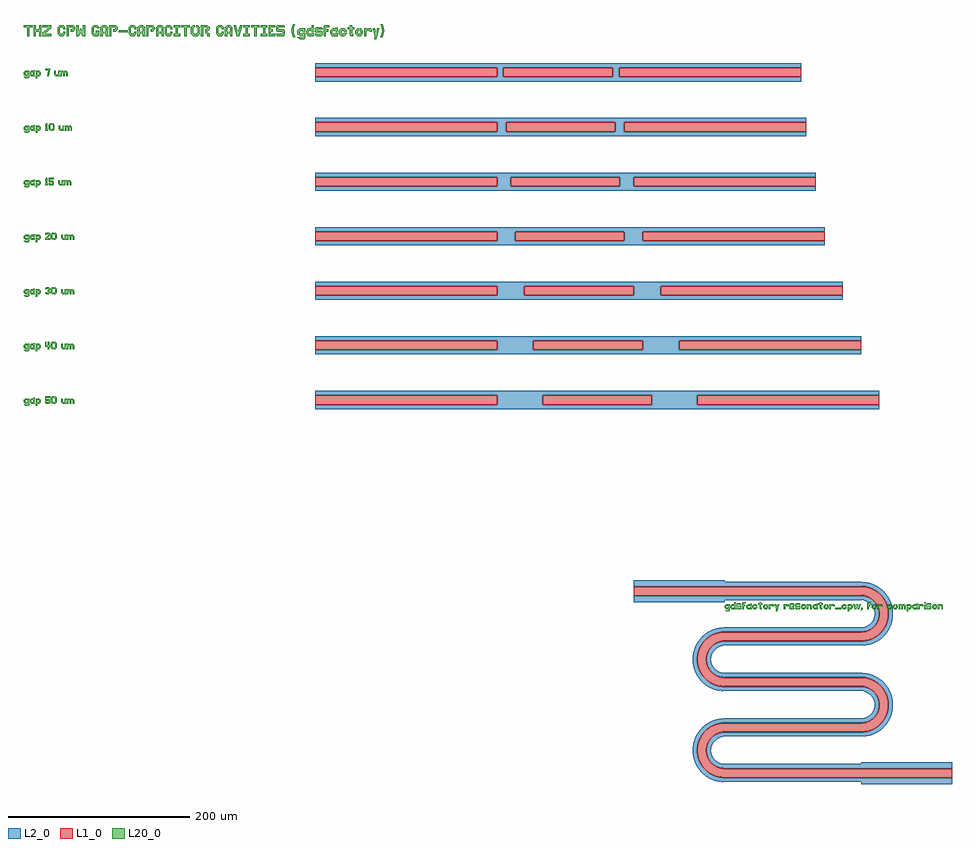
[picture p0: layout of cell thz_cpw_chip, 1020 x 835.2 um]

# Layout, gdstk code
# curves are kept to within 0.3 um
import gdstk
lib = gdstk.Library(unit=1e-6, precision=1e-09)
def R(c, l, rs):  # rectangles x0, y0, x1, y1
    for r in rs: c.add(gdstk.rectangle(r[:2], r[2:], *l))
def P(c, l, *ps):  # polygons
    for p in ps: c.add(gdstk.Polygon(p, *l))
L1_0 = (1, 0)
L2_0 = (2, 0)
L20_0 = (20, 0)

straight_gdsfactorypcomp = lib.new_cell('straight_gdsfactorypcomponentspwaveguidespstraight_L200_c04b30c7')
R(straight_gdsfactorypcomp, L1_0, [(0,-5,200,5)])
R(straight_gdsfactorypcomp, L2_0, [(0,-10,200,-5), (0,5,200,10)])

coupling_gap_g7_s10_w5 = lib.new_cell('coupling_gap_G7_S10_W5')
R(coupling_gap_g7_s10_w5, L2_0, [(0,-10,7,10)])

c_straight_gdsfactorypcomp = lib.new_cell('straight_gdsfactorypcomponentspwaveguidespstraight_L120_0e43afc1')
R(c_straight_gdsfactorypcomp, L1_0, [(0,-5,120,5)])
R(c_straight_gdsfactorypcomp, L2_0, [(0,-10,120,-5), (0,5,120,10)])

gap_cavity_g7 = lib.new_cell('gap_cavity_G7')
gap_cavity_g7.add(gdstk.Reference(straight_gdsfactorypcomp, (0,0)))
gap_cavity_g7.add(gdstk.Reference(coupling_gap_g7_s10_w5, (200,0)))
gap_cavity_g7.add(gdstk.Reference(c_straight_gdsfactorypcomp, (207,0)))
gap_cavity_g7.add(gdstk.Reference(coupling_gap_g7_s10_w5, (327,0)))
gap_cavity_g7.add(gdstk.Reference(straight_gdsfactorypcomp, (334,0)))

text_gdsfactorypcomponen = lib.new_cell('text_gdsfactorypcomponentsptextsptext_Tgap_7_um_S8_P0_0_5e7a676b')
P(text_gdsfactorypcomponen, L20_0, [(1.6,-2.4),(0,-0.8),(4,-0.8),(4,0),(1.872,0),(0,1.6),(0,4),(1.6,5.6),(5.6,5.6),(5.6,3.2),(4,3.2),(4,4),(2.4,4),(1.6,3.2),(1.6,2.4),(2.4,1.6),(4,1.6),(4,2.4),(5.6,2.4),(5.6,-1.6),(4.8,-2.4)],
  [(12.8,-2.4),(12.8,2.4),(14.4,2.4),(14.4,1.6),(16,1.6),(16.8,2.4),(16.8,3.2),(16,4),(14.4,4),(14.4,3.2),(12.8,3.2),(12.8,5.6),(16.8,5.6),(18.4,4),(18.4,1.6),(16.8,0),(14.4,0),(14.4,-2.4)],
  [(35.2,0),(33.6,1.6),(33.6,5.6),(35.2,5.6),(35.2,2.4),(36,1.6),(36.8,1.6),(37.6,2.4),(37.6,5.6),(39.2,5.6),(39.2,0),(37.6,0),(37.6,0.8),(36.8,0)],
  [(40,0),(40,5.6),(41.6,5.6),(41.6,4.8),(42.4,5.6),(43.2,5.6),(44,4.8),(44.8,5.6),(46.4,5.6),(48,4),(48,0),(46.4,0),(46.4,3.2),(45.6,4),(44.8,3.2),(44.8,0),(43.2,0),(43.2,3.2),(42.4,4),(41.6,3.2),(41.6,0)],
  [(8,0),(6.4,1.6),(6.4,4),(8.272,5.6),(10.4,5.6),(10.4,6.2),(12,6.2),(12,3.2),(10.4,3.2),(10.4,4),(8.8,4),(8,3.2),(8,2.4),(8.8,1.6),(10.4,1.6),(10.4,2.4),(12,2.4),(12,0)],
  [(25.6,0),(26.88,6.4),(23.2,6.4),(23.2,8),(28.8,8),(27.2,0)])

coupling_gap_g10_s10_w5 = lib.new_cell('coupling_gap_G10_S10_W5')
R(coupling_gap_g10_s10_w5, L2_0, [(0,-10,10,10)])

gap_cavity_g10 = lib.new_cell('gap_cavity_G10')
gap_cavity_g10.add(gdstk.Reference(straight_gdsfactorypcomp, (0,0)))
gap_cavity_g10.add(gdstk.Reference(coupling_gap_g10_s10_w5, (200,0)))
gap_cavity_g10.add(gdstk.Reference(c_straight_gdsfactorypcomp, (210,0)))
gap_cavity_g10.add(gdstk.Reference(coupling_gap_g10_s10_w5, (330,0)))
gap_cavity_g10.add(gdstk.Reference(straight_gdsfactorypcomp, (340,0)))

c_text_gdsfactorypcomponen = lib.new_cell('text_gdsfactorypcomponentsptextsptext_Tgap_10_um_S8_P0__84a24bd9')
P(c_text_gdsfactorypcomponen, L20_0, [(1.6,-2.4),(0,-0.8),(4,-0.8),(4,0),(1.872,0),(0,1.6),(0,4),(1.6,5.6),(5.6,5.6),(5.6,3.2),(4,3.2),(4,4),(2.4,4),(1.6,3.2),(1.6,2.4),(2.4,1.6),(4,1.6),(4,2.4),(5.6,2.4),(5.6,-1.6),(4.8,-2.4)],
  [(12.8,-2.4),(12.8,2.4),(14.4,2.4),(14.4,1.6),(16,1.6),(16.8,2.4),(16.8,3.2),(16,4),(14.4,4),(14.4,3.2),(12.8,3.2),(12.8,5.6),(16.8,5.6),(18.4,4),(18.4,1.6),(16.8,0),(14.4,0),(14.4,-2.4)],
  [(40,0),(38.4,1.6),(38.4,5.6),(40,5.6),(40,2.4),(40.8,1.6),(41.6,1.6),(42.4,2.4),(42.4,5.6),(44,5.6),(44,0),(42.4,0),(42.4,0.8),(41.6,0)],
  [(44.8,0),(44.8,5.6),(46.4,5.6),(46.4,4.8),(47.2,5.6),(48,5.6),(48.8,4.8),(49.6,5.6),(51.2,5.6),(52.8,4),(52.8,0),(51.2,0),(51.2,3.2),(50.4,4),(49.6,3.2),(49.6,0),(48,0),(48,3.2),(47.2,4),(46.4,3.2),(46.4,0)],
  [(8,0),(6.4,1.6),(6.4,4),(8.272,5.6),(10.4,5.6),(10.4,6.2),(12,6.2),(12,3.2),(10.4,3.2),(10.4,4),(8.8,4),(8,3.2),(8,2.4),(8.8,1.6),(10.4,1.6),(10.4,2.4),(12,2.4),(12,0)],
  [(23.2,0),(23.2,1.6),(24,1.6),(24,4.8),(23.2,4.8),(23.2,6.4),(24.8,8),(25.6,8),(25.6,1.6),(26.4,1.6),(26.4,0)],
  [(28.8,0),(27.2,1.6),(27.2,6.4),(28.8,8),(30.64,8),(30.24,6.4),(29.6,6.4),(28.8,5.6),(28.8,2.4),(29.6,1.6),(29.2,0)],
  [(30.16,0),(30.56,1.6),(31.2,1.6),(32,2.4),(32,5.6),(31.2,6.4),(31.6,8),(32,8),(33.6,6.4),(33.6,1.6),(32,0)])

coupling_gap_g15_s10_w5 = lib.new_cell('coupling_gap_G15_S10_W5')
R(coupling_gap_g15_s10_w5, L2_0, [(0,-10,15,10)])

gap_cavity_g15 = lib.new_cell('gap_cavity_G15')
gap_cavity_g15.add(gdstk.Reference(straight_gdsfactorypcomp, (0,0)))
gap_cavity_g15.add(gdstk.Reference(coupling_gap_g15_s10_w5, (200,0)))
gap_cavity_g15.add(gdstk.Reference(c_straight_gdsfactorypcomp, (215,0)))
gap_cavity_g15.add(gdstk.Reference(coupling_gap_g15_s10_w5, (335,0)))
gap_cavity_g15.add(gdstk.Reference(straight_gdsfactorypcomp, (350,0)))

c_text_gdsfactorypcomponen_ = lib.new_cell('text_gdsfactorypcomponentsptextsptext_Tgap_15_um_S8_P0__25026e8d')
P(c_text_gdsfactorypcomponen_, L20_0, [(1.6,-2.4),(0,-0.8),(4,-0.8),(4,0),(1.872,0),(0,1.6),(0,4),(1.6,5.6),(5.6,5.6),(5.6,3.2),(4,3.2),(4,4),(2.4,4),(1.6,3.2),(1.6,2.4),(2.4,1.6),(4,1.6),(4,2.4),(5.6,2.4),(5.6,-1.6),(4.8,-2.4)],
  [(12.8,-2.4),(12.8,2.4),(14.4,2.4),(14.4,1.6),(16,1.6),(16.8,2.4),(16.8,3.2),(16,4),(14.4,4),(14.4,3.2),(12.8,3.2),(12.8,5.6),(16.8,5.6),(18.4,4),(18.4,1.6),(16.8,0),(14.4,0),(14.4,-2.4)],
  [(39.2,0),(37.6,1.6),(37.6,5.6),(39.2,5.6),(39.2,2.4),(40,1.6),(40.8,1.6),(41.6,2.4),(41.6,5.6),(43.2,5.6),(43.2,0),(41.6,0),(41.6,0.8),(40.8,0)],
  [(44,0),(44,5.6),(45.6,5.6),(45.6,4.8),(46.4,5.6),(47.2,5.6),(48,4.8),(48.8,5.6),(50.4,5.6),(52,4),(52,0),(50.4,0),(50.4,3.2),(49.6,4),(48.8,3.2),(48.8,0),(47.2,0),(47.2,3.2),(46.4,4),(45.6,3.2),(45.6,0)],
  [(8,0),(6.4,1.6),(6.4,4),(8.272,5.6),(10.4,5.6),(10.4,6.2),(12,6.2),(12,3.2),(10.4,3.2),(10.4,4),(8.8,4),(8,3.2),(8,2.4),(8.8,1.6),(10.4,1.6),(10.4,2.4),(12,2.4),(12,0)],
  [(23.2,0),(23.2,1.6),(24,1.6),(24,4.8),(23.2,4.8),(23.2,6.4),(24.8,8),(25.6,8),(25.6,1.6),(26.4,1.6),(26.4,0)],
  [(28,0),(27.2,0.8),(27.2,2.4),(28.8,2.4),(28.8,1.6),(31.2,1.6),(31.2,3.2),(28,3.2),(27.2,4),(27.2,8),(32.8,8),(32.8,6.4),(28.8,6.4),(28.8,4.8),(32,4.8),(32.8,4),(32.8,0.8),(32,0)])

coupling_gap_g20_s10_w5 = lib.new_cell('coupling_gap_G20_S10_W5')
R(coupling_gap_g20_s10_w5, L2_0, [(0,-10,20,10)])

gap_cavity_g20 = lib.new_cell('gap_cavity_G20')
gap_cavity_g20.add(gdstk.Reference(straight_gdsfactorypcomp, (0,0)))
gap_cavity_g20.add(gdstk.Reference(coupling_gap_g20_s10_w5, (200,0)))
gap_cavity_g20.add(gdstk.Reference(c_straight_gdsfactorypcomp, (220,0)))
gap_cavity_g20.add(gdstk.Reference(coupling_gap_g20_s10_w5, (340,0)))
gap_cavity_g20.add(gdstk.Reference(straight_gdsfactorypcomp, (360,0)))

c_text_gdsfactorypcomponen__ = lib.new_cell('text_gdsfactorypcomponentsptextsptext_Tgap_20_um_S8_P0__4ca09d05')
P(c_text_gdsfactorypcomponen__, L20_0, [(1.6,-2.4),(0,-0.8),(4,-0.8),(4,0),(1.872,0),(0,1.6),(0,4),(1.6,5.6),(5.6,5.6),(5.6,3.2),(4,3.2),(4,4),(2.4,4),(1.6,3.2),(1.6,2.4),(2.4,1.6),(4,1.6),(4,2.4),(5.6,2.4),(5.6,-1.6),(4.8,-2.4)],
  [(12.8,-2.4),(12.8,2.4),(14.4,2.4),(14.4,1.6),(16,1.6),(16.8,2.4),(16.8,3.2),(16,4),(14.4,4),(14.4,3.2),(12.8,3.2),(12.8,5.6),(16.8,5.6),(18.4,4),(18.4,1.6),(16.8,0),(14.4,0),(14.4,-2.4)],
  [(42.4,0),(40.8,1.6),(40.8,5.6),(42.4,5.6),(42.4,2.4),(43.2,1.6),(44,1.6),(44.8,2.4),(44.8,5.6),(46.4,5.6),(46.4,0),(44.8,0),(44.8,0.8),(44,0)],
  [(47.2,0),(47.2,5.6),(48.8,5.6),(48.8,4.8),(49.6,5.6),(50.4,5.6),(51.2,4.8),(52,5.6),(53.6,5.6),(55.2,4),(55.2,0),(53.6,0),(53.6,3.2),(52.8,4),(52,3.2),(52,0),(50.4,0),(50.4,3.2),(49.6,4),(48.8,3.2),(48.8,0)],
  [(8,0),(6.4,1.6),(6.4,4),(8.272,5.6),(10.4,5.6),(10.4,6.2),(12,6.2),(12,3.2),(10.4,3.2),(10.4,4),(8.8,4),(8,3.2),(8,2.4),(8.8,1.6),(10.4,1.6),(10.4,2.4),(12,2.4),(12,0)],
  [(23.2,0),(23.2,1.6),(27.2,5.6),(27.2,6.4),(24.8,6.4),(24.8,5.6),(23.2,5.6),(23.2,7.2),(24,8),(28,8),(28.8,7.2),(28.8,4.8),(25.6,1.6),(28.8,1.6),(28.8,0)],
  [(31.2,0),(29.6,1.6),(29.6,6.4),(31.2,8),(33.04,8),(32.64,6.4),(32,6.4),(31.2,5.6),(31.2,2.4),(32,1.6),(31.6,0)],
  [(32.56,0),(32.96,1.6),(33.6,1.6),(34.4,2.4),(34.4,5.6),(33.6,6.4),(34,8),(34.4,8),(36,6.4),(36,1.6),(34.4,0)])

coupling_gap_g30_s10_w5 = lib.new_cell('coupling_gap_G30_S10_W5')
R(coupling_gap_g30_s10_w5, L2_0, [(0,-10,30,10)])

gap_cavity_g30 = lib.new_cell('gap_cavity_G30')
gap_cavity_g30.add(gdstk.Reference(straight_gdsfactorypcomp, (0,0)))
gap_cavity_g30.add(gdstk.Reference(coupling_gap_g30_s10_w5, (200,0)))
gap_cavity_g30.add(gdstk.Reference(c_straight_gdsfactorypcomp, (230,0)))
gap_cavity_g30.add(gdstk.Reference(coupling_gap_g30_s10_w5, (350,0)))
gap_cavity_g30.add(gdstk.Reference(straight_gdsfactorypcomp, (380,0)))

c_text_gdsfactorypcomponen___ = lib.new_cell('text_gdsfactorypcomponentsptextsptext_Tgap_30_um_S8_P0__b5974f5d')
P(c_text_gdsfactorypcomponen___, L20_0, [(1.6,-2.4),(0,-0.8),(4,-0.8),(4,0),(1.872,0),(0,1.6),(0,4),(1.6,5.6),(5.6,5.6),(5.6,3.2),(4,3.2),(4,4),(2.4,4),(1.6,3.2),(1.6,2.4),(2.4,1.6),(4,1.6),(4,2.4),(5.6,2.4),(5.6,-1.6),(4.8,-2.4)],
  [(12.8,-2.4),(12.8,2.4),(14.4,2.4),(14.4,1.6),(16,1.6),(16.8,2.4),(16.8,3.2),(16,4),(14.4,4),(14.4,3.2),(12.8,3.2),(12.8,5.6),(16.8,5.6),(18.4,4),(18.4,1.6),(16.8,0),(14.4,0),(14.4,-2.4)],
  [(42.4,0),(40.8,1.6),(40.8,5.6),(42.4,5.6),(42.4,2.4),(43.2,1.6),(44,1.6),(44.8,2.4),(44.8,5.6),(46.4,5.6),(46.4,0),(44.8,0),(44.8,0.8),(44,0)],
  [(47.2,0),(47.2,5.6),(48.8,5.6),(48.8,4.8),(49.6,5.6),(50.4,5.6),(51.2,4.8),(52,5.6),(53.6,5.6),(55.2,4),(55.2,0),(53.6,0),(53.6,3.2),(52.8,4),(52,3.2),(52,0),(50.4,0),(50.4,3.2),(49.6,4),(48.8,3.2),(48.8,0)],
  [(8,0),(6.4,1.6),(6.4,4),(8.272,5.6),(10.4,5.6),(10.4,6.2),(12,6.2),(12,3.2),(10.4,3.2),(10.4,4),(8.8,4),(8,3.2),(8,2.4),(8.8,1.6),(10.4,1.6),(10.4,2.4),(12,2.4),(12,0)],
  [(24.8,0),(23.2,1.6),(23.2,2.4),(24.8,2.4),(25.6,1.6),(26.4,1.6),(27.2,2.4),(26.4,3.2),(26.4,4.8),(27.2,5.6),(26.4,6.4),(25.6,6.4),(24.8,5.6),(23.2,5.6),(23.2,6.4),(24.8,8),(27.2,8),(28.8,6.4),(28.8,4.8),(28,4),(28.8,3.2),(28.8,1.6),(27.2,0)],
  [(31.2,0),(29.6,1.6),(29.6,6.4),(31.2,8),(33.04,8),(32.64,6.4),(32,6.4),(31.2,5.6),(31.2,2.4),(32,1.6),(31.6,0)],
  [(32.56,0),(32.96,1.6),(33.6,1.6),(34.4,2.4),(34.4,5.6),(33.6,6.4),(34,8),(34.4,8),(36,6.4),(36,1.6),(34.4,0)])

coupling_gap_g40_s10_w5 = lib.new_cell('coupling_gap_G40_S10_W5')
R(coupling_gap_g40_s10_w5, L2_0, [(0,-10,40,10)])

gap_cavity_g40 = lib.new_cell('gap_cavity_G40')
gap_cavity_g40.add(gdstk.Reference(straight_gdsfactorypcomp, (0,0)))
gap_cavity_g40.add(gdstk.Reference(coupling_gap_g40_s10_w5, (200,0)))
gap_cavity_g40.add(gdstk.Reference(c_straight_gdsfactorypcomp, (240,0)))
gap_cavity_g40.add(gdstk.Reference(coupling_gap_g40_s10_w5, (360,0)))
gap_cavity_g40.add(gdstk.Reference(straight_gdsfactorypcomp, (400,0)))

c_text_gdsfactorypcomponen____ = lib.new_cell('text_gdsfactorypcomponentsptextsptext_Tgap_40_um_S8_P0__e0d98c1d')
P(c_text_gdsfactorypcomponen____, L20_0, [(1.6,-2.4),(0,-0.8),(4,-0.8),(4,0),(1.872,0),(0,1.6),(0,4),(1.6,5.6),(5.6,5.6),(5.6,3.2),(4,3.2),(4,4),(2.4,4),(1.6,3.2),(1.6,2.4),(2.4,1.6),(4,1.6),(4,2.4),(5.6,2.4),(5.6,-1.6),(4.8,-2.4)],
  [(12.8,-2.4),(12.8,2.4),(14.4,2.4),(14.4,1.6),(16,1.6),(16.8,2.4),(16.8,3.2),(16,4),(14.4,4),(14.4,3.2),(12.8,3.2),(12.8,5.6),(16.8,5.6),(18.4,4),(18.4,1.6),(16.8,0),(14.4,0),(14.4,-2.4)],
  [(42.4,0),(40.8,1.6),(40.8,5.6),(42.4,5.6),(42.4,2.4),(43.2,1.6),(44,1.6),(44.8,2.4),(44.8,5.6),(46.4,5.6),(46.4,0),(44.8,0),(44.8,0.8),(44,0)],
  [(47.2,0),(47.2,5.6),(48.8,5.6),(48.8,4.8),(49.6,5.6),(50.4,5.6),(51.2,4.8),(52,5.6),(53.6,5.6),(55.2,4),(55.2,0),(53.6,0),(53.6,3.2),(52.8,4),(52,3.2),(52,0),(50.4,0),(50.4,3.2),(49.6,4),(48.8,3.2),(48.8,0)],
  [(8,0),(6.4,1.6),(6.4,4),(8.272,5.6),(10.4,5.6),(10.4,6.2),(12,6.2),(12,3.2),(10.4,3.2),(10.4,4),(8.8,4),(8,3.2),(8,2.4),(8.8,1.6),(10.4,1.6),(10.4,2.4),(12,2.4),(12,0)],
  [(26.4,0),(26.4,2.4),(23.2,2.4),(23.2,8),(24.8,8),(24.8,4),(26.4,4),(26.4,8),(28,8),(28,4),(28.8,4),(28.8,2.4),(28,2.4),(28,0)],
  [(31.2,0),(29.6,1.6),(29.6,6.4),(31.2,8),(33.04,8),(32.64,6.4),(32,6.4),(31.2,5.6),(31.2,2.4),(32,1.6),(31.6,0)],
  [(32.56,0),(32.96,1.6),(33.6,1.6),(34.4,2.4),(34.4,5.6),(33.6,6.4),(34,8),(34.4,8),(36,6.4),(36,1.6),(34.4,0)])

coupling_gap_g50_s10_w5 = lib.new_cell('coupling_gap_G50_S10_W5')
R(coupling_gap_g50_s10_w5, L2_0, [(0,-10,50,10)])

gap_cavity_g50 = lib.new_cell('gap_cavity_G50')
gap_cavity_g50.add(gdstk.Reference(straight_gdsfactorypcomp, (0,0)))
gap_cavity_g50.add(gdstk.Reference(coupling_gap_g50_s10_w5, (200,0)))
gap_cavity_g50.add(gdstk.Reference(c_straight_gdsfactorypcomp, (250,0)))
gap_cavity_g50.add(gdstk.Reference(coupling_gap_g50_s10_w5, (370,0)))
gap_cavity_g50.add(gdstk.Reference(straight_gdsfactorypcomp, (420,0)))

c_text_gdsfactorypcomponen_____ = lib.new_cell('text_gdsfactorypcomponentsptextsptext_Tgap_50_um_S8_P0__9a081bff')
P(c_text_gdsfactorypcomponen_____, L20_0, [(1.6,-2.4),(0,-0.8),(4,-0.8),(4,0),(1.872,0),(0,1.6),(0,4),(1.6,5.6),(5.6,5.6),(5.6,3.2),(4,3.2),(4,4),(2.4,4),(1.6,3.2),(1.6,2.4),(2.4,1.6),(4,1.6),(4,2.4),(5.6,2.4),(5.6,-1.6),(4.8,-2.4)],
  [(12.8,-2.4),(12.8,2.4),(14.4,2.4),(14.4,1.6),(16,1.6),(16.8,2.4),(16.8,3.2),(16,4),(14.4,4),(14.4,3.2),(12.8,3.2),(12.8,5.6),(16.8,5.6),(18.4,4),(18.4,1.6),(16.8,0),(14.4,0),(14.4,-2.4)],
  [(42.4,0),(40.8,1.6),(40.8,5.6),(42.4,5.6),(42.4,2.4),(43.2,1.6),(44,1.6),(44.8,2.4),(44.8,5.6),(46.4,5.6),(46.4,0),(44.8,0),(44.8,0.8),(44,0)],
  [(47.2,0),(47.2,5.6),(48.8,5.6),(48.8,4.8),(49.6,5.6),(50.4,5.6),(51.2,4.8),(52,5.6),(53.6,5.6),(55.2,4),(55.2,0),(53.6,0),(53.6,3.2),(52.8,4),(52,3.2),(52,0),(50.4,0),(50.4,3.2),(49.6,4),(48.8,3.2),(48.8,0)],
  [(8,0),(6.4,1.6),(6.4,4),(8.272,5.6),(10.4,5.6),(10.4,6.2),(12,6.2),(12,3.2),(10.4,3.2),(10.4,4),(8.8,4),(8,3.2),(8,2.4),(8.8,1.6),(10.4,1.6),(10.4,2.4),(12,2.4),(12,0)],
  [(24,0),(23.2,0.8),(23.2,2.4),(24.8,2.4),(24.8,1.6),(27.2,1.6),(27.2,3.2),(24,3.2),(23.2,4),(23.2,8),(28.8,8),(28.8,6.4),(24.8,6.4),(24.8,4.8),(28,4.8),(28.8,4),(28.8,0.8),(28,0)],
  [(31.2,0),(29.6,1.6),(29.6,6.4),(31.2,8),(33.04,8),(32.64,6.4),(32,6.4),(31.2,5.6),(31.2,2.4),(32,1.6),(31.6,0)],
  [(32.56,0),(32.96,1.6),(33.6,1.6),(34.4,2.4),(34.4,5.6),(33.6,6.4),(34,8),(34.4,8),(36,6.4),(36,1.6),(34.4,0)])

resonator_cpw_gdsfactory = lib.new_cell('resonator_cpw_gdsfactorypcomponentspquantumpresonator_L_6a9bfc56')
P(resonator_cpw_gdsfactory, L1_0, [(0,-205),(-5.127,-204.559),(-9.816,-203.349),(-14.516,-201.254),(-18.552,-198.576),(-22.308,-195.059),(-25.408,-190.952),(-27.76,-186.375),(-29.229,-181.76),(-29.954,-176.666),(-29.798,-171.523),(-28.85,-166.773),(-27.02,-161.964),(-24.395,-157.538),(-21.267,-153.84),(-17.338,-150.517),(-13.172,-148.046),(-7.202,-145.877),(-0.606,-145.006),(152.819,-144.8),(156.735,-143.832),(160.203,-142.201),(163.448,-139.804),(166.025,-136.967),(168.013,-133.691),(169.391,-129.899),(169.969,-126.111),(169.786,-122.081),(167.834,-115.947),(163.89,-110.61),(158.417,-106.857),(152.017,-105.102),(-0.303,-104.999),(-5.127,-104.559),(-9.816,-103.349),(-16.588,-99.997),(-22.104,-95.283),(-26.327,-89.384),(-29.086,-82.349),(-30,-75.152),(-29.159,-67.945),(-26.471,-60.883),(-22.308,-54.941),(-18.072,-51.054),(-13.172,-48.046),(-7.789,-46.029),(-1.817,-45.055),(150,-45),(154.013,-44.593),(158.417,-43.143),(162.209,-40.841),(165.528,-37.605),(167.924,-33.872),(169.486,-29.507),(170,-25.101),(169.486,-20.493),(168.013,-16.309),(165.006,-11.778),(160.89,-8.225),(155.969,-5.911),(150.808,-5.016),(-100,-5),(-100,5),(150.606,4.994),(155.723,4.449),(160.671,3.038),(165.044,0.956),(169.258,-1.997),(174.395,-7.538),(178.092,-14.471),(179.862,-22.125),(179.633,-29.678),(177.524,-36.934),(173.482,-43.671),(167.829,-49.127),(160.954,-52.929),(155.723,-54.449),(150.303,-54.999),(-2.418,-55.147),(-5.969,-55.911),(-9.322,-57.305),(-12.368,-59.283),(-15.006,-61.778),(-17.15,-64.71),(-18.798,-68.17),(-19.723,-71.682),(-19.998,-75.303),(-19.652,-78.716),(-18.656,-82.208),(-17.045,-85.463),(-14.872,-88.373),(-12.209,-90.841),(-9.143,-92.788),(-5.775,-94.148),(-2.218,-94.877),(150.303,-95.001),(155.425,-95.494),(160.671,-96.962),(167.338,-100.517),(172.905,-105.626),(177.02,-111.964),(179.42,-119.129),(179.954,-126.666),(178.678,-133.808),(175.567,-140.694),(170.835,-146.585),(166.84,-149.828),(162.073,-152.464),(156.908,-154.194),(151.515,-154.962),(0,-155),(-3.815,-155.367),(-8.048,-156.691),(-11.886,-158.915),(-15.006,-161.778),(-17.551,-165.411),(-19.177,-169.321),(-19.957,-173.688),(-19.755,-178.119),(-18.582,-182.396),(-15.903,-187.128),(-11.886,-191.085),(-6.925,-193.763),(-1.614,-194.935),(250,-195),(250,-205)])
P(resonator_cpw_gdsfactory, L2_0, [(150,-212),(150,-210),(-1.767,-209.955),(-7.023,-209.288),(-11.786,-207.956),(-16.625,-205.799),(-21.084,-202.937),(-24.561,-199.936),(-27.614,-196.505),(-30.192,-192.704),(-32.251,-188.598),(-33.754,-184.258),(-34.675,-179.758),(-34.764,-170.943),(-33.934,-166.426),(-32.519,-162.056),(-30.544,-157.91),(-28.043,-154.057),(-25.059,-150.566),(-21.644,-147.495),(-17.856,-144.897),(-13.761,-142.818),(-7.369,-140.784),(-0.707,-140.007),(151.663,-139.907),(157.258,-138.127),(161.741,-134.335),(164.383,-129.259),(164.916,-123.412),(163.51,-118.482),(160.526,-114.313),(156.313,-111.393),(151.211,-110.049),(-0.354,-109.998),(-8.402,-108.977),(-14.085,-107.041),(-19.353,-104.163),(-24.052,-100.427),(-28.043,-95.943),(-31.209,-90.842),(-33.458,-85.276),(-34.721,-79.408),(-34.964,-73.41),(-34.178,-67.458),(-32.519,-62.056),(-29.829,-56.69),(-26.493,-52.128),(-22.195,-47.938),(-17.244,-44.543),(-11.786,-42.044),(-6.329,-40.577),(0,-40),(150.152,-39.999),(154.332,-39.361),(157.912,-37.744),(161.052,-35.142),(163.375,-31.79),(164.71,-27.936),(164.968,-24.016),(164.149,-20.02),(162.285,-16.393),(159.512,-13.402),(155.051,-10.876),(150,-10),(0,-10),(0,-12),(-100,-12),(-100,-5),(150.404,-5.004),(156.925,-6.237),(162.839,-9.665),(166.38,-13.524),(168.866,-18.36),(169.943,-23.486),(169.652,-28.716),(168.013,-33.691),(165.006,-38.222),(161.059,-41.664),(156.353,-43.964),(150.202,-44.999),(0,-45),(-4.528,-45.344),(-9.242,-46.459),(-13.983,-48.458),(-18.313,-51.238),(-22.104,-54.717),(-25.245,-58.792),(-27.524,-63.066),(-29.159,-67.945),(-29.935,-73.032),(-29.831,-78.176),(-28.85,-83.227),(-27.02,-88.036),(-24.217,-92.707),(-20.835,-96.585),(-16.84,-99.828),(-12.073,-102.464),(-7.202,-104.123),(-0.303,-104.999),(152.218,-105.123),(158.782,-107.031),(164.32,-111.038),(168.185,-116.675),(169.908,-123.084),(169.908,-126.916),(169.177,-130.679),(167.741,-134.232),(165.655,-137.447),(162.993,-140.205),(159.854,-142.404),(156.353,-143.964),(152.619,-144.828),(-0.303,-145.001),(-6.02,-145.61),(-11.235,-147.183),(-18.072,-151.054),(-23.669,-156.567),(-27.643,-163.345),(-29.722,-170.922),(-29.761,-178.778),(-27.76,-186.375),(-23.854,-193.193),(-18.313,-198.762),(-14.25,-201.399),(-9.816,-203.349),(-5.425,-204.506),(-0.606,-204.994),(250,-205),(250,-212)],
  [(0,-195),(-6.735,-193.832),(-12.683,-190.464),(-17.15,-185.29),(-19.613,-178.914),(-19.786,-172.081),(-17.647,-165.589),(-13.448,-160.196),(-7.677,-156.532),(-4.013,-155.407),(-0.202,-155.001),(150,-155),(155.425,-154.506),(160.954,-152.929),(165.823,-150.488),(170.395,-147.001),(174.037,-142.951),(177.02,-138.036),(178.932,-132.935),(179.89,-127.573),(179.831,-121.824),(178.932,-117.065),(177.278,-112.512),(174.913,-108.286),(171.69,-104.274),(168.072,-101.054),(163.714,-98.318),(158.953,-96.367),(154.229,-95.299),(-0.202,-94.999),(-5.969,-94.089),(-10.549,-91.992),(-14.46,-88.817),(-17.454,-84.766),(-19.391,-79.899),(-19.998,-74.697),(-19.288,-69.71),(-17.354,-65.058),(-14.32,-61.038),(-11.559,-58.678),(-8.233,-56.773),(-4.605,-55.537),(-0.808,-55.016),(150.303,-54.999),(157.496,-54.048),(163.714,-51.682),(169.258,-48.003),(173.854,-43.193),(177.278,-37.488),(179.359,-31.168),(179.997,-24.545),(179.229,-18.24),(177.02,-11.964),(172.709,-5.396),(167.09,-0.344),(160.102,3.248),(152.724,4.876),(-100,5),(-100,12),(0,12),(0,10),(151.414,9.972),(157.369,9.216),(162.779,7.584),(168.159,4.921),(173.005,1.378),(178.866,-5.207),(182.896,-13.048),(184.839,-21.646),(184.978,-26.237),(184.515,-30.807),(181.969,-39.247),(177.396,-46.783),(174.307,-50.182),(170.801,-53.149),(163.108,-57.453),(157.023,-59.288),(150.707,-59.993),(-1.362,-60.062),(-6.586,-61.523),(-11.052,-64.858),(-13.992,-69.594),(-15,-75.076),(-13.992,-80.406),(-11.052,-85.142),(-6.586,-88.477),(-1.362,-89.938),(150.707,-90.007),(157.023,-90.712),(162.779,-92.416),(170.515,-96.643),(176.95,-102.668),(181.675,-110.11),(184.323,-118.15),(184.964,-126.59),(183.458,-135.276),(179.829,-143.31),(174.561,-149.936),(169.647,-153.966),(164.085,-157.041),(158.059,-159.06),(152.12,-159.936),(-2.414,-160.196),(-5.617,-161.092),(-8.545,-162.672),(-11.052,-164.858),(-13.015,-167.544),(-14.339,-170.596),(-14.957,-173.865),(-14.839,-177.189),(-13.992,-180.406),(-11.835,-184.216),(-8.792,-187.153),(-5.051,-189.124),(-0.757,-189.981),(150,-190),(150,-188),(250,-188),(250,-195)])

c_text_gdsfactorypcomponen______ = lib.new_cell('text_gdsfactorypcomponentsptextsptext_Tgdsfactory_reson_5c395cba')
R(c_text_gdsfactorypcomponen______, L20_0, [(121.6,0,128,1.6), (219.2,0,220.8,4.8), (219.2,6.4,220.8,8)])
P(c_text_gdsfactorypcomponen______, L20_0, [(150.4,-1.6),(150.4,1.6),(152,1.6),(152,0)],
  [(1.6,-2.4),(0,-0.8),(4,-0.8),(4,0),(1.872,0),(0,1.6),(0,4),(1.6,5.6),(5.6,5.6),(5.6,3.2),(4,3.2),(4,4),(2.4,4),(1.6,3.2),(1.6,2.4),(2.4,1.6),(4,1.6),(4,2.4),(5.6,2.4),(5.6,-1.6),(4.8,-2.4)],
  [(32,0),(30.4,1.6),(30.4,4),(32,5.6),(34.4,5.6),(36,4),(36,3.2),(34.4,3.2),(33.6,4),(32.8,4),(32,3.2),(32,2.4),(32.8,1.6),(33.6,1.6),(34.4,2.4),(36,2.4),(36,1.6),(34.4,0)],
  [(44,0),(42.4,1.6),(42.4,4),(44,5.6),(44.8,5.6),(44.8,4),(44,3.2),(44,2.4),(44.8,1.6),(45.6,1.6),(46.4,2.4),(46.4,3.2),(45.6,4),(45.6,5.6),(46.4,5.6),(48,4),(48,1.6),(46.4,0)],
  [(48.8,0),(48.8,5.6),(50.4,5.6),(50.4,4.8),(51.2,5.6),(53.6,5.6),(54.4,4.8),(54.4,3.2),(52.8,3.2),(52.8,4),(51.2,4),(50.4,3.2),(50.4,0)],
  [(56.112,-2.4),(56.8,0),(55.2,5.6),(56.8,5.6),(57.6,2.8),(58.4,5.6),(60,5.6),(58.4,0),(57.712,-2.4)],
  [(64.8,0),(64.8,5.6),(66.4,5.6),(66.4,4.8),(67.2,5.6),(69.6,5.6),(70.4,4.8),(70.4,3.2),(68.8,3.2),(68.8,4),(67.2,4),(66.4,3.2),(66.4,0)],
  [(85.6,0),(84,1.6),(84,4),(85.6,5.6),(86.4,5.6),(86.4,4),(85.6,3.2),(85.6,2.4),(86.4,1.6),(87.2,1.6),(88,2.4),(88,3.2),(87.2,4),(87.2,5.6),(88,5.6),(89.6,4),(89.6,1.6),(88,0)],
  [(90.4,0),(90.4,5.6),(92,5.6),(92,4.8),(92.8,5.6),(94.4,5.6),(96,4),(96,0),(94.4,0),(94.4,3.2),(93.6,4),(92.8,4),(92,3.2),(92,0)],
  [(110.4,0),(108.8,1.6),(108.8,4),(110.4,5.6),(111.2,5.6),(111.2,4),(110.4,3.2),(110.4,2.4),(111.2,1.6),(112,1.6),(112.8,2.4),(112.8,3.2),(112,4),(112,5.6),(112.8,5.6),(114.4,4),(114.4,1.6),(112.8,0)],
  [(115.2,0),(115.2,5.6),(116.8,5.6),(116.8,4.8),(117.6,5.6),(120,5.6),(120.8,4.8),(120.8,3.2),(119.2,3.2),(119.2,4),(117.6,4),(116.8,3.2),(116.8,0)],
  [(130.4,0),(128.8,1.6),(128.8,4),(130.4,5.6),(132.8,5.6),(134.4,4),(134.4,3.2),(132.8,3.2),(132,4),(131.2,4),(130.4,3.2),(130.4,2.4),(131.2,1.6),(132,1.6),(132.8,2.4),(134.4,2.4),(134.4,1.6),(132.8,0)],
  [(135.2,-2.4),(135.2,2.4),(136.8,2.4),(136.8,1.6),(138.4,1.6),(139.2,2.4),(139.2,3.2),(138.4,4),(136.8,4),(136.8,3.2),(135.2,3.2),(135.2,5.6),(139.2,5.6),(140.8,4),(140.8,1.6),(139.2,0),(136.8,0),(136.8,-2.4)],
  [(143.2,0),(141.6,5.6),(143.2,5.6),(144,2.8),(144.8,5.6),(146.4,5.6),(147.2,2.8),(148,5.6),(149.6,5.6),(148,0),(146.4,0),(145.6,2.8),(144.8,0)],
  [(163.2,0),(161.6,1.6),(161.6,4),(163.2,5.6),(164,5.6),(164,4),(163.2,3.2),(163.2,2.4),(164,1.6),(164.8,1.6),(165.6,2.4),(165.6,3.2),(164.8,4),(164.8,5.6),(165.6,5.6),(167.2,4),(167.2,1.6),(165.6,0)],
  [(168,0),(168,5.6),(169.6,5.6),(169.6,4.8),(170.4,5.6),(172.8,5.6),(173.6,4.8),(173.6,3.2),(172,3.2),(172,4),(170.4,4),(169.6,3.2),(169.6,0)],
  [(180,0),(178.4,1.6),(178.4,4),(180,5.6),(182.4,5.6),(184,4),(184,3.2),(182.4,3.2),(181.6,4),(180.8,4),(180,3.2),(180,2.4),(180.8,1.6),(181.6,1.6),(182.4,2.4),(184,2.4),(184,1.6),(182.4,0)],
  [(186.4,0),(184.8,1.6),(184.8,4),(186.4,5.6),(187.2,5.6),(187.2,4),(186.4,3.2),(186.4,2.4),(187.2,1.6),(188,1.6),(188.8,2.4),(188.8,3.2),(188,4),(188,5.6),(188.8,5.6),(190.4,4),(190.4,1.6),(188.8,0)],
  [(191.2,0),(191.2,5.6),(192.8,5.6),(192.8,4.8),(193.6,5.6),(194.4,5.6),(195.2,4.8),(196,5.6),(197.6,5.6),(199.2,4),(199.2,0),(197.6,0),(197.6,3.2),(196.8,4),(196,3.2),(196,0),(194.4,0),(194.4,3.2),(193.6,4),(192.8,3.2),(192.8,0)],
  [(200,-2.4),(200,2.4),(201.6,2.4),(201.6,1.6),(203.2,1.6),(204,2.4),(204,3.2),(203.2,4),(201.6,4),(201.6,3.2),(200,3.2),(200,5.6),(204,5.6),(205.6,4),(205.6,1.6),(204,0),(201.6,0),(201.6,-2.4)],
  [(212.8,0),(212.8,5.6),(214.4,5.6),(214.4,4.8),(215.2,5.6),(217.6,5.6),(218.4,4.8),(218.4,3.2),(216.8,3.2),(216.8,4),(215.2,4),(214.4,3.2),(214.4,0)],
  [(229.6,0),(228,1.6),(228,4),(229.6,5.6),(230.4,5.6),(230.4,4),(229.6,3.2),(229.6,2.4),(230.4,1.6),(231.2,1.6),(232,2.4),(232,3.2),(231.2,4),(231.2,5.6),(232,5.6),(233.6,4),(233.6,1.6),(232,0)],
  [(234.4,0),(234.4,5.6),(236,5.6),(236,4.8),(236.8,5.6),(238.4,5.6),(240,4),(240,0),(238.4,0),(238.4,3.2),(237.6,4),(236.8,4),(236,3.2),(236,0)],
  [(25.6,0),(24,1.6),(24,4),(25.872,5.6),(28,5.6),(28,6.2),(29.6,6.2),(29.6,3.2),(28,3.2),(28,4),(26.4,4),(25.6,3.2),(25.6,2.4),(26.4,1.6),(28,1.6),(28,2.4),(29.6,2.4),(29.6,0)],
  [(98.4,0),(96.8,1.6),(96.8,4),(98.672,5.6),(100.8,5.6),(100.8,6.2),(102.4,6.2),(102.4,3.2),(100.8,3.2),(100.8,4),(99.2,4),(98.4,3.2),(98.4,2.4),(99.2,1.6),(100.8,1.6),(100.8,2.4),(102.4,2.4),(102.4,0)],
  [(208,0),(206.4,1.6),(206.4,4),(208.272,5.6),(210.4,5.6),(210.4,6.2),(212,6.2),(212,3.2),(210.4,3.2),(210.4,4),(208.8,4),(208,3.2),(208,2.4),(208.8,1.6),(210.4,1.6),(210.4,2.4),(212,2.4),(212,0)],
  [(13.6,0),(12.8,0.8),(12.8,1.6),(16.8,1.6),(16.8,2.4),(13.6,2.4),(12.8,3.2),(12.8,5.6),(13.6,6.4),(17.6,6.4),(18.4,5.6),(18.4,4.8),(14.4,4.8),(14.4,4),(17.6,4),(18.4,3.2),(18.4,0.8),(17.6,0)],
  [(72,0),(71.2,0.8),(71.2,5.6),(72,6.4),(76,6.4),(76.8,5.6),(76.8,3.2),(76,2.4),(73.92,2.4),(73.92,4),(75.2,4),(75.2,4.8),(72.8,4.8),(72.8,1.6),(76.8,1.6),(76.8,0.8),(76,0)],
  [(78.4,0),(77.6,0.8),(77.6,1.6),(81.6,1.6),(81.6,2.4),(78.4,2.4),(77.6,3.2),(77.6,5.6),(78.4,6.4),(82.4,6.4),(83.2,5.6),(83.2,4.8),(79.2,4.8),(79.2,4),(82.4,4),(83.2,3.2),(83.2,0.8),(82.4,0)],
  [(222.4,0),(221.6,0.8),(221.6,1.6),(225.6,1.6),(225.6,2.4),(222.4,2.4),(221.6,3.2),(221.6,5.6),(222.4,6.4),(226.4,6.4),(227.2,5.6),(227.2,4.8),(223.2,4.8),(223.2,4),(226.4,4),(227.2,3.2),(227.2,0.8),(226.4,0)],
  [(8,0),(6.4,1.6),(6.4,4),(8,5.6),(10.4,5.6),(10.4,8),(12,8),(12,3.2),(10.4,3.2),(10.4,4),(8.8,4),(8,3.2),(8,2.4),(8.8,1.6),(10.4,1.6),(10.4,2.4),(12,2.4),(12,0)],
  [(19.2,0),(19.2,7.2),(20,8),(23.2,8),(23.2,6.4),(20.8,6.4),(20.8,4.8),(22.4,4.8),(22.4,3.2),(20.8,3.2),(20.8,0)],
  [(39.2,0),(38.4,0.8),(38.4,4.8),(36.8,4.8),(36.8,6.4),(38.4,6.4),(38.4,8),(40,8),(40,6.4),(41.6,6.4),(41.6,4.8),(40,4.8),(40,1.6),(40.8,1.6),(40.8,0)],
  [(105.6,0),(104.8,0.8),(104.8,4.8),(103.2,4.8),(103.2,6.4),(104.8,6.4),(104.8,8),(106.4,8),(106.4,6.4),(108,6.4),(108,4.8),(106.4,4.8),(106.4,1.6),(107.2,1.6),(107.2,0)],
  [(156.8,0),(156.8,7.2),(157.6,8),(160.8,8),(160.8,6.4),(158.4,6.4),(158.4,4.8),(160,4.8),(160,3.2),(158.4,3.2),(158.4,0)])

c_text_gdsfactorypcomponen_______ = lib.new_cell('text_gdsfactorypcomponentsptextsptext_TTHZ_CPW_GAPmCAPA_cd960fca')
R(c_text_gdsfactorypcomponen_______, L20_0, [(104.4,4.2,114,6.6)])
P(c_text_gdsfactorypcomponen_______, L20_0, [(303,-3.6),(300.6,-1.2),(306.6,-1.2),(306.6,0),(303.408,0),(300.6,2.4),(300.6,6),(303,8.4),(309,8.4),(309,4.8),(306.6,4.8),(306.6,6),(304.2,6),(303,4.8),(303,3.6),(304.2,2.4),(306.6,2.4),(306.6,3.6),(309,3.6),(309,-2.4),(307.8,-3.6)],
  [(348.6,0),(346.2,2.4),(346.2,6),(348.6,8.4),(352.2,8.4),(354.6,6),(354.6,4.8),(352.2,4.8),(351,6),(349.8,6),(348.6,4.8),(348.6,3.6),(349.8,2.4),(351,2.4),(352.2,3.6),(354.6,3.6),(354.6,2.4),(352.2,0)],
  [(366.6,0),(364.2,2.4),(364.2,6),(366.6,8.4),(367.8,8.4),(367.8,6),(366.6,4.8),(366.6,3.6),(367.8,2.4),(369,2.4),(370.2,3.6),(370.2,4.8),(369,6),(369,8.4),(370.2,8.4),(372.6,6),(372.6,2.4),(370.2,0)],
  [(373.8,0),(373.8,8.4),(376.2,8.4),(376.2,7.2),(377.4,8.4),(381,8.4),(382.2,7.2),(382.2,4.8),(379.8,4.8),(379.8,6),(377.4,6),(376.2,4.8),(376.2,0)],
  [(384.768,-3.6),(385.8,0),(383.4,8.4),(385.8,8.4),(387,4.2),(388.2,8.4),(390.6,8.4),(388.2,0),(387.168,-3.6)],
  [(339,0),(336.6,2.4),(336.6,6),(339.408,8.4),(342.6,8.4),(342.6,9.3),(345,9.3),(345,4.8),(342.6,4.8),(342.6,6),(340.2,6),(339,4.8),(339,3.6),(340.2,2.4),(342.6,2.4),(342.6,3.6),(345,3.6),(345,0)],
  [(321,0),(319.8,1.2),(319.8,2.4),(325.8,2.4),(325.8,3.6),(321,3.6),(319.8,4.8),(319.8,8.4),(321,9.6),(327,9.6),(328.2,8.4),(328.2,7.2),(322.2,7.2),(322.2,6),(327,6),(328.2,4.8),(328.2,1.2),(327,0)],
  [(3.6,0),(3.6,9.6),(0,9.6),(0,12),(9.6,12),(9.6,9.6),(6,9.6),(6,0)],
  [(10.8,0),(10.8,12),(13.2,12),(13.2,7.2),(16.8,7.2),(16.8,12),(19.2,12),(19.2,0),(16.8,0),(16.8,4.8),(13.2,4.8),(13.2,0)],
  [(20.4,0),(20.4,3.6),(27.6,9.6),(20.4,9.6),(20.4,12),(30,12),(30,8.4),(22.8,2.4),(30,2.4),(30,0)],
  [(39.6,0),(37.2,2.4),(37.2,9.6),(39.6,12),(43.2,12),(45.6,9.6),(45.6,7.2),(43.2,7.2),(43.2,8.4),(42,9.6),(40.8,9.6),(39.6,8.4),(39.6,3.6),(40.8,2.4),(42,2.4),(43.2,3.6),(43.2,4.8),(45.6,4.8),(45.6,2.4),(43.2,0)],
  [(46.8,0),(46.8,12),(54,12),(56.4,9.6),(56.4,7.2),(54,4.8),(51.6,4.8),(51.6,7.2),(52.8,7.2),(54,8.4),(52.8,9.6),(49.2,9.6),(49.2,0)],
  [(57.6,0),(57.6,12),(60,12),(60,4.8),(62.4,8.4),(64.8,4.8),(64.8,12),(67.2,12),(67.2,0),(64.8,0),(62.4,3.6),(60,0)],
  [(76.8,0),(74.4,2.4),(74.4,9.6),(76.8,12),(80.4,12),(82.8,9.6),(82.8,8.4),(80.4,8.4),(79.2,9.6),(78,9.6),(76.8,8.4),(76.8,3.6),(78,2.4),(80.4,2.4),(80.4,3.6),(79.2,3.6),(79.2,6),(82.8,6),(82.8,1.2),(81.6,0)],
  [(83.988,0),(84,9.6),(86.4,12),(90.012,12),(92.4,9.6),(92.4,0),(90.012,0),(90.012,2.4),(88.8,2.4),(88.8,4.8),(90.012,4.8),(90.012,8.4),(88.8,9.6),(87.6,9.6),(86.4,8.4),(86.4,4.8),(87.6,4.8),(87.6,2.4),(86.4,2.4),(86.4,0)],
  [(93.6,0),(93.6,12),(100.8,12),(103.2,9.6),(103.2,7.2),(100.8,4.8),(98.4,4.8),(98.4,7.2),(99.6,7.2),(100.8,8.4),(99.6,9.6),(96,9.6),(96,0)],
  [(117.6,0),(115.2,2.4),(115.2,9.6),(117.6,12),(121.2,12),(123.6,9.6),(123.6,7.2),(121.2,7.2),(121.2,8.4),(120,9.6),(118.8,9.6),(117.6,8.4),(117.6,3.6),(118.8,2.4),(120,2.4),(121.2,3.6),(121.2,4.8),(123.6,4.8),(123.6,2.4),(121.2,0)],
  [(124.788,0),(124.8,9.6),(127.2,12),(130.812,12),(133.2,9.6),(133.2,0),(130.812,0),(130.812,2.4),(129.6,2.4),(129.6,4.8),(130.812,4.8),(130.812,8.4),(129.6,9.6),(128.4,9.6),(127.2,8.4),(127.2,4.8),(128.4,4.8),(128.4,2.4),(127.2,2.4),(127.2,0)],
  [(134.4,0),(134.4,12),(141.6,12),(144,9.6),(144,7.2),(141.6,4.8),(139.2,4.8),(139.2,7.2),(140.4,7.2),(141.6,8.4),(140.4,9.6),(136.8,9.6),(136.8,0)],
  [(145.188,0),(145.2,9.6),(147.6,12),(151.212,12),(153.6,9.6),(153.6,0),(151.212,0),(151.212,2.4),(150,2.4),(150,4.8),(151.212,4.8),(151.212,8.4),(150,9.6),(148.8,9.6),(147.6,8.4),(147.6,4.8),(148.8,4.8),(148.8,2.4),(147.6,2.4),(147.6,0)],
  [(157.2,0),(154.8,2.4),(154.8,9.6),(157.2,12),(160.8,12),(163.2,9.6),(163.2,7.2),(160.8,7.2),(160.8,8.4),(159.6,9.6),(158.4,9.6),(157.2,8.4),(157.2,3.6),(158.4,2.4),(159.6,2.4),(160.8,3.6),(160.8,4.8),(163.2,4.8),(163.2,2.4),(160.8,0)],
  [(164.4,0),(164.4,2.4),(166.8,2.4),(166.8,9.6),(164.4,9.6),(164.4,12),(171.6,12),(171.6,9.6),(169.2,9.6),(169.2,2.4),(171.6,2.4),(171.6,0)],
  [(176.4,0),(176.4,9.6),(172.8,9.6),(172.8,12),(182.4,12),(182.4,9.6),(178.8,9.6),(178.8,0)],
  [(186,0),(183.6,2.4),(183.6,9.6),(186,12),(187.56,12),(187.56,9.6),(186,8.4),(186,3.6),(187.2,2.4),(189.6,2.4),(190.8,3.6),(190.8,8.4),(189.24,9.6),(189.24,12),(190.8,12),(193.2,9.6),(193.2,2.4),(190.8,0)],
  [(194.4,0),(194.4,12),(201.6,12),(204,9.6),(204,7.2),(201.6,4.8),(204,2.4),(204,0),(201.6,0),(201.6,1.2),(199.2,3.6),(199.2,7.2),(200.4,7.2),(201.6,8.4),(200.4,9.6),(196.8,9.6),(196.8,0)],
  [(213.6,0),(211.2,2.4),(211.2,9.6),(213.6,12),(217.2,12),(219.6,9.6),(219.6,7.2),(217.2,7.2),(217.2,8.4),(216,9.6),(214.8,9.6),(213.6,8.4),(213.6,3.6),(214.8,2.4),(216,2.4),(217.2,3.6),(217.2,4.8),(219.6,4.8),(219.6,2.4),(217.2,0)],
  [(220.788,0),(220.8,9.6),(223.2,12),(226.812,12),(229.2,9.6),(229.2,0),(226.812,0),(226.812,2.4),(225.6,2.4),(225.6,4.8),(226.812,4.8),(226.812,8.4),(225.6,9.6),(224.4,9.6),(223.2,8.4),(223.2,4.8),(224.4,4.8),(224.4,2.4),(223.2,2.4),(223.2,0)],
  [(234,0),(230.4,12),(232.8,12),(235.2,4.8),(237.6,12),(240,12),(236.4,0)],
  [(241.2,0),(241.2,2.4),(243.6,2.4),(243.6,9.6),(241.2,9.6),(241.2,12),(248.4,12),(248.4,9.6),(246,9.6),(246,2.4),(248.4,2.4),(248.4,0)],
  [(253.2,0),(253.2,9.6),(249.6,9.6),(249.6,12),(259.2,12),(259.2,9.6),(255.6,9.6),(255.6,0)],
  [(260.4,0),(260.4,2.4),(262.8,2.4),(262.8,9.6),(260.4,9.6),(260.4,12),(267.6,12),(267.6,9.6),(265.2,9.6),(265.2,2.4),(267.6,2.4),(267.6,0)],
  [(268.8,0),(268.8,12),(276,12),(276,9.6),(271.2,9.6),(271.2,7.2),(273.6,7.2),(273.6,4.8),(271.2,4.8),(271.2,2.4),(276,2.4),(276,0)],
  [(278.4,0),(277.2,1.2),(277.2,2.4),(284.4,2.4),(284.4,4.8),(278.4,4.8),(277.2,6),(277.2,10.8),(278.4,12),(285.6,12),(286.8,10.8),(286.8,9.6),(279.6,9.6),(279.6,7.2),(285.6,7.2),(286.8,6),(286.8,1.2),(285.6,0)],
  [(312.6,0),(310.2,2.4),(310.2,6),(312.6,8.4),(316.2,8.4),(316.2,12),(318.6,12),(318.6,4.8),(316.2,4.8),(316.2,6),(313.8,6),(312.6,4.8),(312.6,3.6),(313.8,2.4),(316.2,2.4),(316.2,3.6),(318.6,3.6),(318.6,0)],
  [(329.4,0),(329.4,10.8),(330.6,12),(335.4,12),(335.4,9.6),(331.8,9.6),(331.8,7.2),(334.2,7.2),(334.2,4.8),(331.8,4.8),(331.8,0)],
  [(359.4,0),(358.2,1.2),(358.2,7.2),(355.8,7.2),(355.8,9.6),(358.2,9.6),(358.2,12),(360.6,12),(360.6,9.6),(363,9.6),(363,7.2),(360.6,7.2),(360.6,2.4),(361.8,2.4),(361.8,0)],
  [(295.8,-1.2),(294.3,3.6),(294,6),(294.3,8.4),(295.8,13.2),(298.2,13.2),(297.3,10.8),(296.4,6),(296.7,3.6),(298.2,-1.2)],
  [(391.8,-1.2),(392.7,1.2),(393.6,6),(393.3,8.4),(391.8,13.2),(394.2,13.2),(395.7,8.4),(396,6),(395.7,3.6),(394.2,-1.2)])

thz_cpw_chip = lib.new_cell('thz_cpw_chip')
thz_cpw_chip.add(gdstk.Reference(gap_cavity_g7, (0,0)))
thz_cpw_chip.add(gdstk.Reference(text_gdsfactorypcomponen, (-320,-4)))
thz_cpw_chip.add(gdstk.Reference(gap_cavity_g10, (0,-60)))
thz_cpw_chip.add(gdstk.Reference(c_text_gdsfactorypcomponen, (-320,-64)))
thz_cpw_chip.add(gdstk.Reference(gap_cavity_g15, (0,-120)))
thz_cpw_chip.add(gdstk.Reference(c_text_gdsfactorypcomponen_, (-320,-124)))
thz_cpw_chip.add(gdstk.Reference(gap_cavity_g20, (0,-180)))
thz_cpw_chip.add(gdstk.Reference(c_text_gdsfactorypcomponen__, (-320,-184)))
thz_cpw_chip.add(gdstk.Reference(gap_cavity_g30, (0,-240)))
thz_cpw_chip.add(gdstk.Reference(c_text_gdsfactorypcomponen___, (-320,-244)))
thz_cpw_chip.add(gdstk.Reference(gap_cavity_g40, (0,-300)))
thz_cpw_chip.add(gdstk.Reference(c_text_gdsfactorypcomponen____, (-320,-304)))
thz_cpw_chip.add(gdstk.Reference(gap_cavity_g50, (0,-360)))
thz_cpw_chip.add(gdstk.Reference(c_text_gdsfactorypcomponen_____, (-320,-364)))
thz_cpw_chip.add(gdstk.Reference(resonator_cpw_gdsfactory, (450,-570)))
thz_cpw_chip.add(gdstk.Reference(c_text_gdsfactorypcomponen______, (450,-590)))
thz_cpw_chip.add(gdstk.Reference(c_text_gdsfactorypcomponen_______, (-320,40)))

lib.write_gds('thz_cpw_chip.gds')
